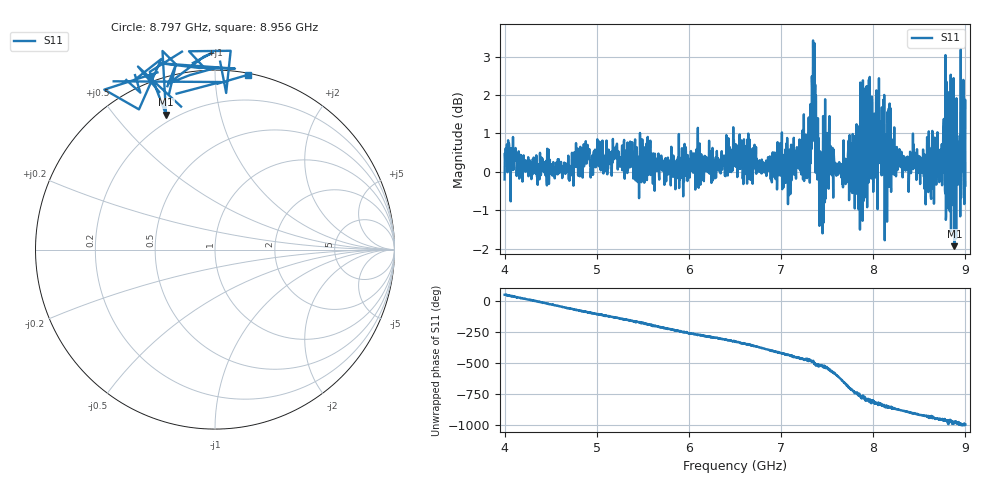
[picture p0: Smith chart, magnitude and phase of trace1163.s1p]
! Created with skrf 1.8.0 (http://scikit-rf.org).
# Hz S RI R 50.0
!freq ReS11 ImS11
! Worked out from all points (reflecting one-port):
!   1601 points, 4 GHz to 9 GHz, reference 50 ohm
!   lowest |S11| = -1.9 dB at 8.881 GHz (marker M1), VSWR 9.01, Z = 8.23 + j34.4 ohm
!   phase of S11 starts at 50 deg and turns -1045 deg over the sweep
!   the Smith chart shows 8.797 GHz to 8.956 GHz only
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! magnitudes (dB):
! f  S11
! 4 GHz  -0.2
! 4.028 GHz  0.3
! 4.625 GHz  -0.2
! 5.25 GHz  0.3
! 5.875 GHz  -0.1
! 6.5 GHz  0.3
! 7.125 GHz  0.6
! 7.291 GHz  1.0
! 7.319 GHz  1.8
! 7.344 GHz  1.5
! 7.359 GHz  3.3
! 7.4 GHz  1.4
! 7.438 GHz  -0.9
! 7.503 GHz  0.7
! 7.65 GHz  -0.1
! 7.75 GHz  -0.1
! 7.878 GHz  0.4
! 7.928 GHz  2.2
! 7.956 GHz  -0.2
! 8.097 GHz  0.3
! 8.15 GHz  -1.3
! 8.375 GHz  0.1
! 8.575 GHz  -0.3
! 8.784 GHz  3.0
! 8.881 GHz  -1.9
! 8.919 GHz  -0.2
! 8.972 GHz  0.7
! 9 GHz  -0.4
